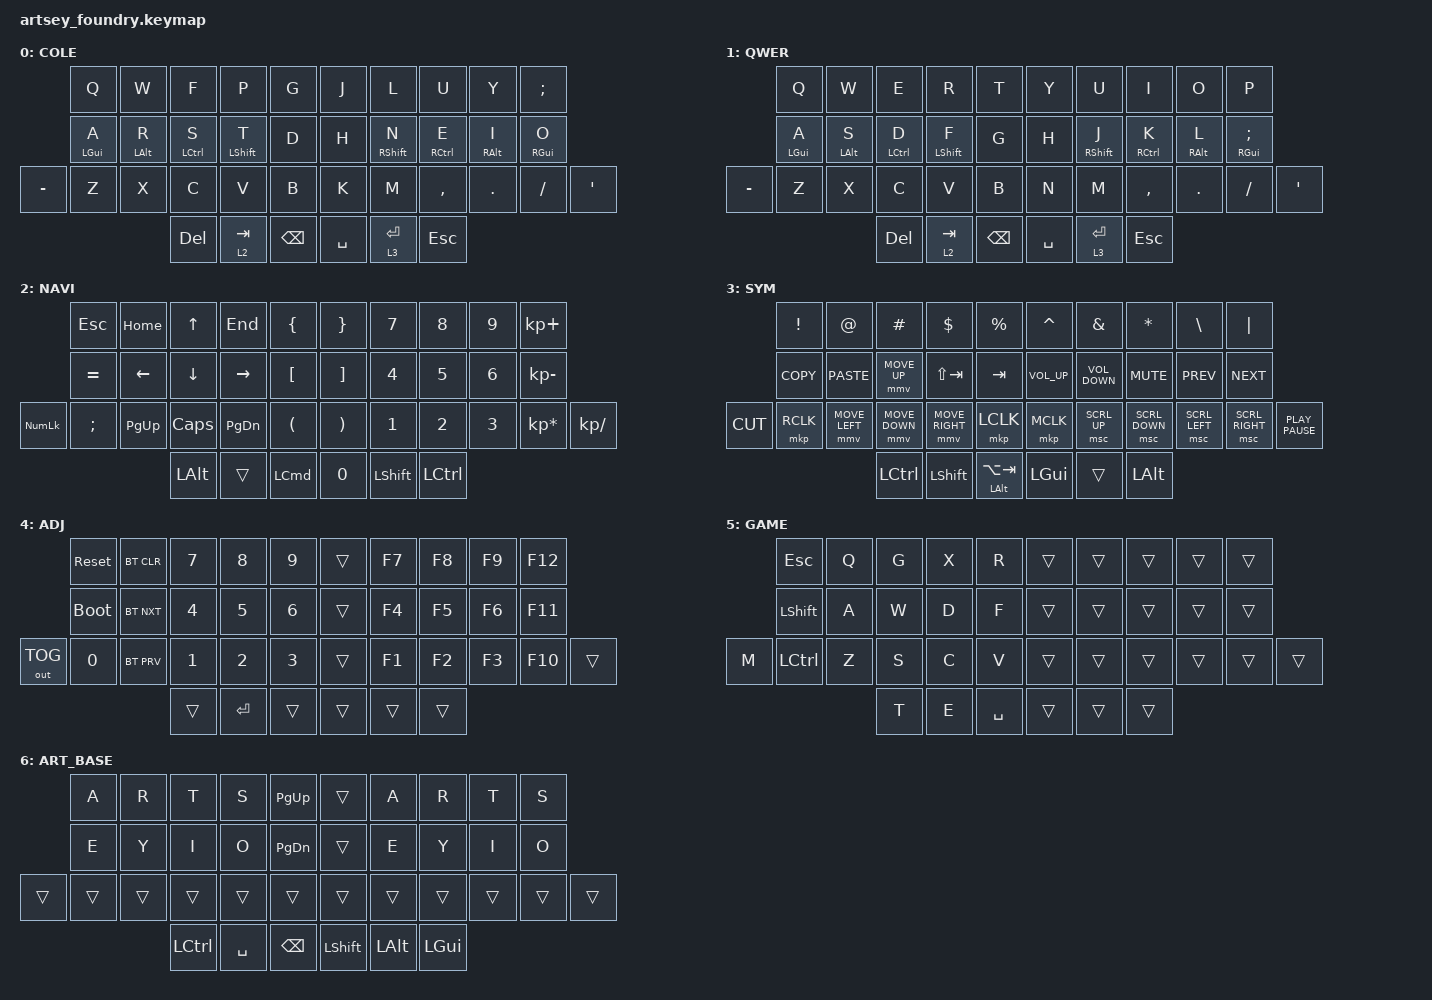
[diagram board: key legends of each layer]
//
//                                                        ▀▀▀▀▀     ▀▀▀▀▀          ▀▀█▀▀
//                                                        ▄▀▀▀▄  ▄  ▄▀▀▀▄  ▄  ▄▀▀▀▄  █  ▄▀▀▀▄
//                                                        █   █  █  █   █  █  █   █  █  █   █
//                                                         ▀▀▀   █   ▀▀▀   █   ▀▀▀   ▀   ▀▀▀
//                                                               █      ▄▄▄█▄▄▄    █   █  
//                                                               ▀      █  █  █     █▄█
//                                                             ▀▀▀▀▀    █  █  █      ▀
//                                                                      ▀  ▀  ▀
//
// ▄▄▄▄▄▄▄▄▄▄▄▄▄▄▄▄▄▄▄▄▄▄▄▄▄▄▄▄▄▄▄▄▄▄▄▄▄▄▄▄▄▄▄▄▄▄▄▄▄▄▄▄▄▄▄▄▄▄▄▄▄▄▄▄▄▄▄▄▄▄▄▄▄▄▄▄▄▄▄▄▄▄▄▄▄▄▄▄▄▄▄▄▄▄▄▄▄▄▄▄▄▄▄▄▄▄▄▄▄▄▄▄▄▄▄▄▄▄▄▄▄▄▄▄▄▄▄▄▄▄▄▄▄▄▄▄▄▄▄▄▄▄▄▄▄▄▄▄▄

#include <behaviors.dtsi>
#include <dt-bindings/zmk/bt.h>
#include <dt-bindings/zmk/keys.h>
#include <dt-bindings/zmk/outputs.h>
#include <dt-bindings/zmk/pointing.h>

#define BASE 0
#define NAV  1
#define SYM  2
#define ADJ  3
#define TVP1 4
#define TVP2 5

&mt {
    quick-tap-ms = <100>;
    global-quick-tap;
    flavor = "tap-preferred";
    tapping-term-ms = <170>;
};

/ {
    combos {
        compatible = "zmk,combos";

        combo_esc {
            timeout-ms = <50>;
            key-positions = <0 1>;
            bindings = <&kp ESC>;
        };

        combo_tvp {
            timeout-ms = <100>;
            key-positions = <11 12 13>;
            bindings = <&tog 4>;
        };

        artsey_base {
            bindings = <&tog 6>;
            key-positions = <10 11 12 13>;
        };

        game {
            bindings = <&tog 5>;
            key-positions = <1 2 3>;
            timeout-ms = <100>;
        };

        qwerty {
            bindings = <&tog 1>;
            key-positions = <0 1 2 3>;
        };
    };

    macros {
        gif: gif {
            label = "giphy";
            compatible = "zmk,behavior-macro";
            #binding-cells = <0>;
            bindings =
                <&macro_press>,
                <&kp LSHFT>,
                <&macro_tap>,
                <&kp N2>,
                <&macro_release>,
                <&kp LSHFT>,
                <&macro_tap>,
                <&kp G &kp I &kp F>;
        };
    };

    keymap {
        compatible = "zmk,keymap";

        // ▄▄▄▄▄▄▄▄▄▄▄▄▄▄▄▄▄▄▄▄▄▄▄▄▄▄▄▄▄▄▄▄▄▄▄▄▄▄▄▄▄▄▄▄▄▄▄▄▄▄▄▄▄▄▄▄▄▄▄▄▄▄▄▄▄▄▄▄▄▄▄▄▄▄▄▄▄▄▄▄▄▄▄▄▄▄▄▄▄▄▄▄▄▄▄▄▄▄▄▄▄▄▄▄▄▄▄▄▄▄▄▄▄▄▄▄▄▄▄▄▄▄▄▄▄▄▄▄▄▄▄▄▄▄▄▄▄▄▄▄▄▄▄▄▄▄▄▄▄

        colemak_layer {
            // ┏━━━━━━━━━━━━━━━━━━━━━━━━━━━━━━━━━━━━━━━┓

            label = "COLE";

            // ┗━━━━━━━━━━━━━━━━━━━━━━━━━━━━━━━━━━━━━━━┛
            //             ┏━━━━━━━━━━━┳━━━━━━━━━━━┳━━━━━━━━━━━┳━━━━━━━━━━━┳━━━━━━━━━━━┓   ┏━━━━━━━━━━━┳━━━━━━━━━━━┳━━━━━━━━━━━┳━━━━━━━━━━━┳━━━━━━━━━━━┓
            //             ┃     Q     ┃     W     ┃     F     ┃     P     ┃     G     ┃   ┃     J     ┃     L     ┃     U     ┃     Y     ┃     ;     ┃
            //             ┣━━━━━━━━━━━╋━━━━━━━━━━━╋━━━━━━━━━━━╋━━━━━━━━━━━╋━━━━━━━━━━━┫   ┣━━━━━━━━━━━╋━━━━━━━━━━━╋━━━━━━━━━━━╋━━━━━━━━━━━╋━━━━━━━━━━━┫
            //             ┃     A     ┃     R     ┃     S     ┃     T     ┃     D     ┃   ┃     H     ┃     N     ┃     E     ┃     I     ┃     O     ┃
            // ┏━━━━━━━━━━━╋━━━━━━━━━━━╋━━━━━━━━━━━╋━━━━━━━━━━━╋━━━━━━━━━━━╋━━━━━━━━━━━┫   ┣━━━━━━━━━━━╋━━━━━━━━━━━╋━━━━━━━━━━━╋━━━━━━━━━━━╋━━━━━━━━━━━╋━━━━━━━━━━━┓
            // ┃     Q     ┃     Z     ┃     X     ┃     C     ┃     V     ┃     B     ┃   ┃     K     ┃     M     ┃     ,     ┃     .     ┃     /     ┃     \     ┃
            // ┗━━━━━━━━━━━┻━━━━━━━━━━━┻━━━━━━━━━━━╋━━━━━━━━━━━╋━━━━━━━━━━━╋━━━━━━━━━━━┫   ┣━━━━━━━━━━━╋━━━━━━━━━━━╋━━━━━━━━━━━╋━━━━━━━━━━━┻━━━━━━━━━━━┻━━━━━━━━━━━┛
            //                                     ┃    DEL    ┃    TAB    ┃    SPC    ┃   ┃   ENTER   ┃           ┃   BSPC    ┃
            //                                     ┗━━━━━━━━━━━┻━━━━━━━━━━━┻━━━━━━━━━━━┛   ┗━━━━━━━━━━━┻━━━━━━━━━━━┻━━━━━━━━━━━┛

            bindings = <
           &kp Q       &kp W       &kp F        &kp P        &kp G            &kp J      &kp L        &kp U        &kp Y       &kp SEMI
           &mt LGUI A  &mt LALT R  &mt LCTRL S  &mt LSHFT T  &kp D            &kp H      &mt RSHFT N  &mt RCTRL E  &mt RALT I  &mt RGUI O
&kp MINUS  &kp Z       &kp X       &kp C        &kp V        &kp B            &kp K      &kp M        &kp COMMA    &kp DOT     &kp FSLH    &kp SQT
                                   &kp DEL      &lt 2 TAB    &kp BACKSPACE    &kp SPACE  &lt 3 ENTER  &kp ESCAPE
            >;
        };

        qwerty_layer {
            label = "QWER";
            bindings = <
           &kp Q       &kp W       &kp E        &kp R        &kp T            &kp Y      &kp U        &kp I        &kp O       &kp P
           &mt LGUI A  &mt LALT S  &mt LCTRL D  &mt LSHFT F  &kp G            &kp H      &mt RSHFT J  &mt RCTRL K  &mt RALT L  &mt RGUI SEMICOLON
&kp MINUS  &kp Z       &kp X       &kp C        &kp V        &kp B            &kp N      &kp M        &kp COMMA    &kp PERIOD  &kp SLASH           &kp SQT
                                   &kp DEL      &lt 2 TAB    &kp BACKSPACE    &kp SPACE  &lt 3 ENTER  &kp ESCAPE
            >;
        };

        nav_layer {
            // ┏━━━━━━━━━━━━━━━━━━━━━━━━━━━━━━━━━━━━━━━┓

            label = "NAVI";

            // ┗━━━━━━━━━━━━━━━━━━━━━━━━━━━━━━━━━━━━━━━┛
            //             ┏━━━━━━━━━━━┳━━━━━━━━━━━┳━━━━━━━━━━━┳━━━━━━━━━━━┳━━━━━━━━━━━┓   ┏━━━━━━━━━━━┳━━━━━━━━━━━┳━━━━━━━━━━━┳━━━━━━━━━━━┳━━━━━━━━━━━┓
            //             ┃           ┃           ┃     UP    ┃           ┃     {     ┃   ┃     }     ┃     7     ┃     8     ┃     9     ┃     +     ┃
            //             ┣━━━━━━━━━━━╋━━━━━━━━━━━╋━━━━━━━━━━━╋━━━━━━━━━━━╋━━━━━━━━━━━┫   ┣━━━━━━━━━━━╋━━━━━━━━━━━╋━━━━━━━━━━━╋━━━━━━━━━━━╋━━━━━━━━━━━┫
            //             ┃   SHIFT   ┃   LEFT    ┃    DOWN   ┃   RIGHT   ┃     [     ┃   ┃     ]     ┃     4     ┃     5     ┃     6     ┃     -     ┃
            // ┏━━━━━━━━━━━╋━━━━━━━━━━━╋━━━━━━━━━━━╋━━━━━━━━━━━╋━━━━━━━━━━━╋━━━━━━━━━━━┫   ┣━━━━━━━━━━━╋━━━━━━━━━━━╋━━━━━━━━━━━╋━━━━━━━━━━━╋━━━━━━━━━━━╋━━━━━━━━━━━┓
            // ┃           ┃           ┃   P UP    ┃  C LOCK   ┃  P DOWN   ┃     (     ┃   ┃     )     ┃     1     ┃     2     ┃     3     ┃     *     ┃           ┃
            // ┗━━━━━━━━━━━┻━━━━━━━━━━━┻━━━━━━━━━━━╋━━━━━━━━━━━╋━━━━━━━━━━━╋━━━━━━━━━━━┫   ┣━━━━━━━━━━━╋━━━━━━━━━━━╋━━━━━━━━━━━╋━━━━━━━━━━━┻━━━━━━━━━━━┻━━━━━━━━━━━┛
            //                                     ┃           ┃    TAB    ┃    SPC    ┃   ┃    DEL    ┃     0     ┃           ┃
            //                                     ┗━━━━━━━━━━━┻━━━━━━━━━━━┻━━━━━━━━━━━┛   ┗━━━━━━━━━━━┻━━━━━━━━━━━┻━━━━━━━━━━━┛

            bindings = <
                &kp ESC        &kp HOME   &kp UP    &kp END    &kp LBRC    &kp RBRC  &kp N7        &kp N8        &kp N9        &kp KP_PLUS
                &kp EQUAL      &kp LEFT   &kp DOWN  &kp RIGHT  &kp LBKT    &kp RBKT  &kp NUMBER_4  &kp N5        &kp NUMBER_6  &kp KP_MINUS
&kp KP_NUMLOCK  &kp SEMICOLON  &kp PG_UP  &kp CAPS  &kp PG_DN  &kp LPAR    &kp RPAR  &kp N1        &kp NUMBER_2  &kp NUMBER_3  &kp KP_MULTIPLY  &kp KP_DIVIDE
                                          &kp LALT  &trans     &kp LCMD    &kp N0    &kp LSHFT     &kp LCTRL
            >;
        };

        sim_layer {
            // ┏━━━━━━━━━━━━━━━━━━━━━━━━━━━━━━━━━━━━━━━┓

            label = "SYM";

            // ┗━━━━━━━━━━━━━━━━━━━━━━━━━━━━━━━━━━━━━━━┛
            //             ┏━━━━━━━━━━━┳━━━━━━━━━━━┳━━━━━━━━━━━┳━━━━━━━━━━━┳━━━━━━━━━━━┓   ┏━━━━━━━━━━━┳━━━━━━━━━━━┳━━━━━━━━━━━┳━━━━━━━━━━━┳━━━━━━━━━━━┓
            //             ┃     !     ┃     @     ┃     #     ┃     $     ┃     %     ┃   ┃     ˆ     ┃     &     ┃     Ü     ┃     '     ┃     "     ┃
            //             ┣━━━━━━━━━━━╋━━━━━━━━━━━╋━━━━━━━━━━━╋━━━━━━━━━━━╋━━━━━━━━━━━┫   ┣━━━━━━━━━━━╋━━━━━━━━━━━╋━━━━━━━━━━━╋━━━━━━━━━━━╋━━━━━━━━━━━┫
            //             ┃     Ä     ┃           ┃    SZ     ┃           ┃           ┃   ┃   MUTE    ┃   YEN     ┃   EURO    ┃  POUND    ┃     Ö     ┃
            // ┏━━━━━━━━━━━╋━━━━━━━━━━━╋━━━━━━━━━━━╋━━━━━━━━━━━╋━━━━━━━━━━━╋━━━━━━━━━━━┫   ┣━━━━━━━━━━━╋━━━━━━━━━━━╋━━━━━━━━━━━╋━━━━━━━━━━━╋━━━━━━━━━━━╋━━━━━━━━━━━┓
            // ┃           ┃  EMAIL1   ┃  EMAIL2   ┃           ┃           ┃           ┃   ┃   VOL-    ┃   VOL+    ┃   LAST    ┃   NEXT    ┃     \     ┃           ┃
            // ┗━━━━━━━━━━━┻━━━━━━━━━━━┻━━━━━━━━━━━╋━━━━━━━━━━━╋━━━━━━━━━━━╋━━━━━━━━━━━┫   ┣━━━━━━━━━━━╋━━━━━━━━━━━╋━━━━━━━━━━━╋━━━━━━━━━━━┻━━━━━━━━━━━┻━━━━━━━━━━━┛
            //                                     ┃           ┃    GIF    ┃    ADJ    ┃   ┃           ┃           ┃           ┃
            //                                     ┗━━━━━━━━━━━┻━━━━━━━━━━━┻━━━━━━━━━━━┛   ┗━━━━━━━━━━━┻━━━━━━━━━━━┻━━━━━━━━━━━┛

            bindings = <
           &kp EXCL    &kp AT          &kp HASH        &kp DLLR         &kp PRCNT               &kp CARET        &kp AMPS           &kp ASTERISK    &kp BACKSLASH   &kp PIPE
           &kp K_COPY  &kp K_PASTE     &mmv MOVE_UP    &kp LS(TAB)      &kp TAB                 &kp C_VOLUME_UP  &kp C_VOLUME_DOWN  &kp K_MUTE      &kp K_PREV      &kp K_NEXT
&kp K_CUT  &mkp RCLK   &mmv MOVE_LEFT  &mmv MOVE_DOWN  &mmv MOVE_RIGHT  &mkp LCLK               &mkp MCLK        &msc SCRL_UP       &msc SCRL_DOWN  &msc SCRL_LEFT  &msc SCRL_RIGHT  &kp K_PLAY_PAUSE
                                       &kp LCTRL       &kp LSHFT        &mt LEFT_ALT LA(TAB)    &kp LEFT_GUI     &trans             &kp LEFT_ALT
            >;
        };

        adjust_layer {
            // ┏━━━━━━━━━━━━━━━━━━━━━━━━━━━━━━━━━━━━━━━┓

            label = "ADJ";

            // ┗━━━━━━━━━━━━━━━━━━━━━━━━━━━━━━━━━━━━━━━┛
            //             ┏━━━━━━━━━━━┳━━━━━━━━━━━┳━━━━━━━━━━━┳━━━━━━━━━━━┳━━━━━━━━━━━┓   ┏━━━━━━━━━━━┳━━━━━━━━━━━┳━━━━━━━━━━━┳━━━━━━━━━━━┳━━━━━━━━━━━┓
            //             ┃   RESET   ┃ BT CLEAR  ┃  OUT TOG  ┃           ┃           ┃   ┃           ┃    F7     ┃    F8     ┃    F9     ┃    F12    ┃
            //             ┣━━━━━━━━━━━╋━━━━━━━━━━━╋━━━━━━━━━━━╋━━━━━━━━━━━╋━━━━━━━━━━━┫   ┣━━━━━━━━━━━╋━━━━━━━━━━━╋━━━━━━━━━━━╋━━━━━━━━━━━╋━━━━━━━━━━━┫
            //             ┃ BOOTLOAD  ┃ BT NEXT   ┃           ┃           ┃           ┃   ┃           ┃    F4     ┃    F5     ┃    F6     ┃    F11    ┃
            // ┏━━━━━━━━━━━╋━━━━━━━━━━━╋━━━━━━━━━━━╋━━━━━━━━━━━╋━━━━━━━━━━━╋━━━━━━━━━━━┫   ┣━━━━━━━━━━━╋━━━━━━━━━━━╋━━━━━━━━━━━╋━━━━━━━━━━━╋━━━━━━━━━━━╋━━━━━━━━━━━┓
            // ┃           ┃           ┃ BT PREV   ┃           ┃           ┃           ┃   ┃           ┃    F1     ┃    F2     ┃    F3     ┃    F10    ┃           ┃
            // ┗━━━━━━━━━━━┻━━━━━━━━━━━┻━━━━━━━━━━━╋━━━━━━━━━━━╋━━━━━━━━━━━╋━━━━━━━━━━━┫   ┣━━━━━━━━━━━╋━━━━━━━━━━━╋━━━━━━━━━━━╋━━━━━━━━━━━┻━━━━━━━━━━━┻━━━━━━━━━━━┛
            //                                     ┃           ┃           ┃           ┃   ┃           ┃           ┃           ┃
            //                                     ┗━━━━━━━━━━━┻━━━━━━━━━━━┻━━━━━━━━━━━┛   ┗━━━━━━━━━━━┻━━━━━━━━━━━┻━━━━━━━━━━━┛

            bindings = <
              &sys_reset   &bt BT_CLR  &kp N7  &kp N8     &kp N9    &trans  &kp F7  &kp F8  &kp F9  &kp F12
              &bootloader  &bt BT_NXT  &kp N4  &kp N5     &kp N6    &trans  &kp F4  &kp F5  &kp F6  &kp F11
&out OUT_TOG  &kp N0       &bt BT_PRV  &kp N1  &kp N2     &kp N3    &trans  &kp F1  &kp F2  &kp F3  &kp F10  &trans
                                       &trans  &kp ENTER  &trans    &trans  &trans  &trans
            >;
        };

        GAME {
            bindings = <
       &kp ESCAPE  &kp Q  &kp G  &kp X  &kp R        &trans  &trans  &trans  &trans  &trans
       &kp LSHFT   &kp A  &kp W  &kp D  &kp F        &trans  &trans  &trans  &trans  &trans
&kp M  &kp LCTRL   &kp Z  &kp S  &kp C  &kp V        &trans  &trans  &trans  &trans  &trans  &trans
                          &kp T  &kp E  &kp SPACE    &trans  &trans  &trans
            >;

            label = "GAME";
        };

        ARTSEY_LAYER {
            bindings = <
        &kp A   &kp R   &kp T      &kp S      &kp PG_UP    &trans     &kp A     &kp R     &kp T   &kp S
        &kp E   &kp Y   &kp I      &kp O      &kp PG_DN    &trans     &kp E     &kp Y     &kp I   &kp O
&trans  &trans  &trans  &trans     &trans     &trans       &trans     &trans    &trans    &trans  &trans  &trans
                        &kp LCTRL  &kp SPACE  &kp BSPC     &kp LSHFT  &kp LALT  &kp LGUI
            >;

            label = "ART_BASE";
        };
    };
};
